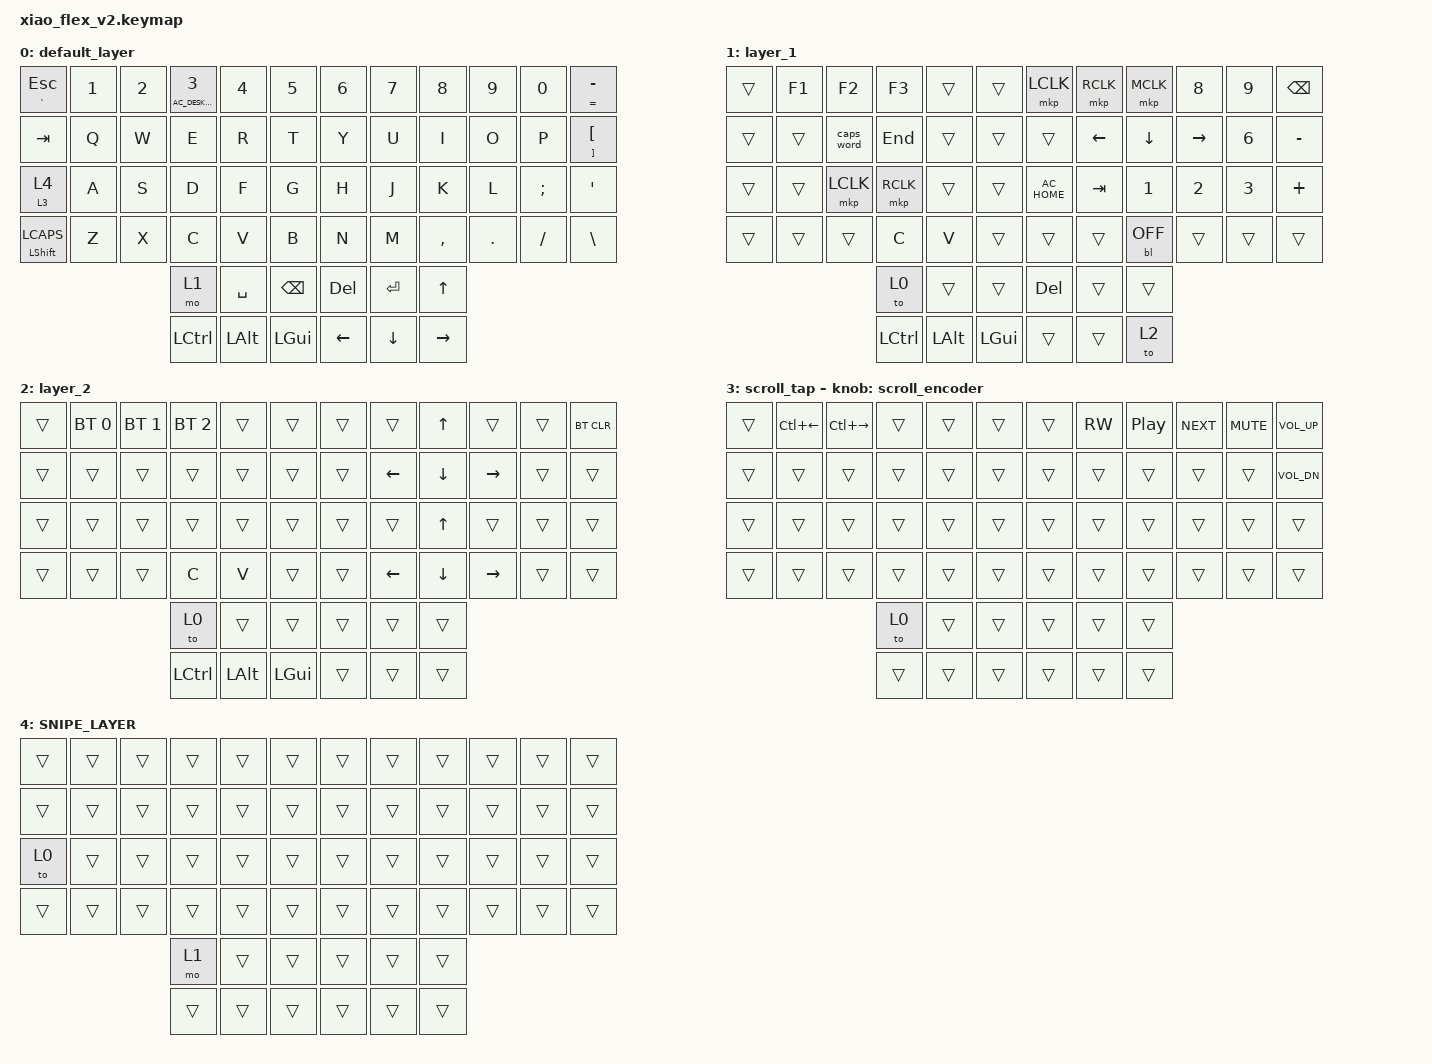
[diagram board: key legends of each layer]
/*
 * Copyright (c) 2020 The ZMK Contributors
 *
 * SPDX-License-Identifier: MIT
 */

#include <dt-bindings/led/led.h>
#include <behaviors/mouse_keys.dtsi>
#include <dt-bindings/zmk/mouse.h>
#include <behaviors.dtsi>
#include <dt-bindings/zmk/backlight.h>
#include <dt-bindings/zmk/bt.h>
#include <dt-bindings/zmk/keys.h>

/ {
    behaviors {
        backspace_del: backspace_del {
            compatible = "zmk,behavior-tap-dance";
            #binding-cells = <0>;
            tapping-term-ms = <200>;
            bindings = <&kp BACKSPACE>, <&kp BACKSPACE>;
        };

        scroll_encoder: scroll_encoder {
            compatible = "zmk,behavior-sensor-rotate";
            #sensor-binding-cells = <0>;
            bindings =
                <&msc SCRL_UP>,
                <&msc SCRL_DOWN>,
                <&msc SCRL_LEFT>,
                <&msc SCRL_RIGHT>;
        };

        ltm: layer-tap-or-mouse {
            compatible = "zmk,behavior-hold-tap";
            #binding-cells = <2>;
            flavor = "tap-preferred";
            tapping-term-ms = <200>;
            bindings = <&mo>, <&mkp>;
        };

        lhm: layer-tap-hold-or-mouse {
            compatible = "zmk,behavior-hold-tap";
            #binding-cells = <2>;
            flavor = "hold-preferred";
            hold-while-undecided;
            tapping-term-ms = <150>;
            bindings = <&mo>, <&mkp>;
        };

        mto: momentary-and-toggle {
            compatible = "zmk,behavior-hold-tap";
            #binding-cells = <2>;
            flavor = "hold-preferred";
            hold-while-undecided;
            tapping-term-ms = <200>;
            bindings = <&mo>, <&to>;
        };

        mok: momentary-and-keypress {
            compatible = "zmk,behavior-hold-tap";
            #binding-cells = <2>;
            flavor = "hold-preferred";
            hold-while-undecided;
            tapping-term-ms = <150>;
            bindings = <&mo>, <&kp>;
        };
    };

    combos {
        compatible = "zmk,combos";

        voldown {
            bindings = <&kp C_VOL_DN>;
            key-positions = <54 10>;
            layers = <0>;
        };

        volup {
            bindings = <&kp C_VOL_UP>;
            key-positions = <56 10>;
            layers = <0>;
        };
    };

    keymap {
        compatible = "zmk,keymap";

        default_layer {
            bindings = <
&mt GRAVE ESC         &kp N1  &kp N2  &mt C_AC_DESKTOP_SHOW_ALL_WINDOWS N3  &kp N4     &kp N5           &kp N6          &kp N7          &kp N8           &kp N9   &kp N0    &mt EQUAL MINUS
&kp TAB               &kp Q   &kp W   &kp E                                 &kp R      &kp T            &kp Y           &kp U           &kp I            &kp O    &kp P     &mt RIGHT_BRACKET LEFT_BRACKET
&mto 3 4              &kp A   &kp S   &kp D                                 &kp F      &kp G            &kp H           &kp J           &kp K            &kp L    &kp SEMI  &kp SQT
&mt LEFT_SHIFT LCAPS  &kp Z   &kp X   &kp C                                 &kp V      &kp B            &kp N           &kp M           &kp COMMA        &kp DOT  &kp FSLH  &kp BSLH
                                      &mo 1                                 &kp SPACE  &kp BACKSPACE    &kp DEL         &kp RET         &kp UP_ARROW
                                      &kp LCTRL                             &kp LALT   &kp LEFT_GUI     &kp LEFT_ARROW  &kp DOWN_ARROW  &kp RIGHT_ARROW
            >;
        };

        layer_1 {
            bindings = <
&trans  &kp F1  &kp F2      &kp F3            &trans        &trans          &mkp LCLK      &mkp RCLK  &mkp MCLK       &kp N8     &kp N9  &kp BSPC
&trans  &trans  &caps_word  &kp END           &trans        &trans          &trans         &kp LEFT   &kp DOWN_ARROW  &kp RIGHT  &kp N6  &kp MINUS
&trans  &trans  &mkp LCLK   &mkp RCLK         &trans        &trans          &kp C_AC_HOME  &kp TAB    &kp N1          &kp N2     &kp N3  &kp PLUS
&trans  &trans  &trans      &kp C             &kp V         &trans          &trans         &trans     &bl BL_OFF      &trans     &trans  &trans
                            &to 0             &trans        &trans          &kp DEL        &trans     &trans
                            &kp LEFT_CONTROL  &kp LEFT_ALT  &kp LEFT_GUI    &trans         &trans     &to 2
            >;
        };

        layer_2 {
            bindings = <
&trans  &bt BT_SEL 0  &bt BT_SEL 1  &bt BT_SEL 2      &trans        &trans          &trans  &trans          &kp UP_ARROW    &trans           &trans  &bt BT_CLR
&trans  &trans        &trans        &trans            &trans        &trans          &trans  &kp LEFT_ARROW  &kp DOWN_ARROW  &kp RIGHT_ARROW  &trans  &trans
&trans  &trans        &trans        &trans            &trans        &trans          &trans  &trans          &kp UP          &trans           &trans  &trans
&trans  &trans        &trans        &kp C             &kp V         &trans          &trans  &kp LEFT        &kp DOWN        &kp RIGHT        &trans  &trans
                                    &to 0             &trans        &trans          &trans  &trans          &trans
                                    &kp LEFT_CONTROL  &kp LEFT_ALT  &kp LEFT_GUI    &trans  &trans          &trans
            >;
        };

        scroll_tap_layer {
            bindings = <
&trans  &kp LC(LEFT_ARROW)  &kp LC(RIGHT_ARROW)  &trans  &trans  &trans    &trans  &kp C_RW  &kp C_PP  &kp C_NEXT  &kp C_MUTE  &kp C_VOLUME_UP
&trans  &trans              &trans               &trans  &trans  &trans    &trans  &trans    &trans    &trans      &trans      &kp C_VOL_DN
&trans  &trans              &trans               &trans  &trans  &trans    &trans  &trans    &trans    &trans      &trans      &trans
&trans  &trans              &trans               &trans  &trans  &trans    &trans  &trans    &trans    &trans      &trans      &trans
                                                 &to 0   &trans  &trans    &trans  &trans    &trans
                                                 &trans  &trans  &trans    &trans  &trans    &trans
            >;

            label = "scroll_tap";
            sensor-bindings = <&scroll_encoder>;
        };

        SNIPE_LAYER {
            bindings = <
&trans  &trans  &trans  &trans  &trans  &trans    &trans  &trans  &trans  &trans  &trans  &trans
&trans  &trans  &trans  &trans  &trans  &trans    &trans  &trans  &trans  &trans  &trans  &trans
&to 0   &trans  &trans  &trans  &trans  &trans    &trans  &trans  &trans  &trans  &trans  &trans
&trans  &trans  &trans  &trans  &trans  &trans    &trans  &trans  &trans  &trans  &trans  &trans
                        &mo 1   &trans  &trans    &trans  &trans  &trans
                        &trans  &trans  &trans    &trans  &trans  &trans
            >;
        };
    };
};
